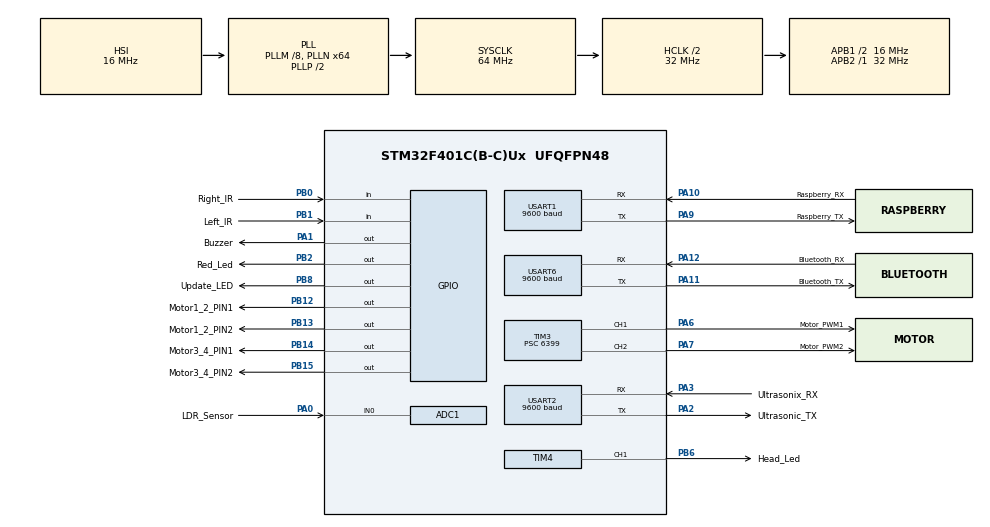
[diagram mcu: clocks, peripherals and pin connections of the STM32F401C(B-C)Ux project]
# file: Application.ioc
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ADC1.Channel-0\#ChannelRegularConversion=ADC_CHANNEL_0
ADC1.NbrOfConversionFlag=1
ADC1.Rank-0\#ChannelRegularConversion=1
ADC1.SamplingTime-0\#ChannelRegularConversion=ADC_SAMPLETIME_3CYCLES
ADC1.master=1
FREERTOS.Tasks01=TASK_1,9,128,ACC_TASK,Default,NULL,Dynamic,NULL,NULL;TASK_2,32,128,AEB_TASK,Default,NULL,Dynamic,NULL,NULL;TASK_3,16,128,LKS_Task,Default,NULL,Dynamic,NULL,NULL;TASK_4,8,128,ALC_TASK,Default,NULL,Dynamic,NULL,NULL;TASK_5,8,128,Bluetooth_Task,Default,NULL,Dynamic,NULL,NULL;TASK_6,8,128,FOTA_Task,Default,NULL,Dynamic,NULL,NULL
Mcu.Family=STM32F4
Mcu.Name=STM32F401C(B-C)Ux
Mcu.Package=UFQFPN48
NVIC.PriorityGroup=NVIC_PRIORITYGROUP_4
NVIC.TIM2_IRQn=true\:15\:0\:false\:false\:true\:false\:false\:true\:true
NVIC.TimeBase=TIM2_IRQn
NVIC.TimeBaseIP=TIM2
PA0-WKUP.GPIO_Label=LDR_Sensor
PA0-WKUP.Signal=ADCx_IN0
PA1.GPIO_Label=Buzzer
PA1.GPIO_Speed=GPIO_SPEED_FREQ_MEDIUM
PA1.Signal=GPIO_Output
PA10.GPIO_Label=Raspberry_RX
PA10.Mode=Asynchronous
PA10.Signal=USART1_RX
PA11.GPIO_Label=Bluetooth_TX
PA11.Mode=Asynchronous
PA11.Signal=USART6_TX
PA12.GPIO_Label=Bluetooth_RX
PA12.Mode=Asynchronous
PA12.Signal=USART6_RX
PA2.GPIO_Label=Ultrasonic_TX
PA2.Mode=Asynchronous
PA2.Signal=USART2_TX
PA3.GPIO_Label=Ultrasonix_RX
PA3.Mode=Asynchronous
PA3.Signal=USART2_RX
PA6.GPIO_Label=Motor_PWM1
PA6.Signal=S_TIM3_CH1
PA7.GPIO_Label=Motor_PWM2
PA7.Signal=S_TIM3_CH2
PA9.GPIO_Label=Raspberry_TX
PA9.Mode=Asynchronous
PA9.Signal=USART1_TX
PB0.GPIO_Label=Right_IR
PB0.Signal=GPIO_Input
PB1.GPIO_Label=Left_IR
PB1.Signal=GPIO_Input
PB12.GPIO_Label=Motor1_2_PIN1
PB12.GPIO_Speed=GPIO_SPEED_FREQ_MEDIUM
PB12.Signal=GPIO_Output
PB13.GPIO_Label=Motor1_2_PIN2
PB13.GPIO_Speed=GPIO_SPEED_FREQ_MEDIUM
PB13.Signal=GPIO_Output
PB14.GPIO_Label=Motor3_4_PIN1
PB14.GPIO_Speed=GPIO_SPEED_FREQ_MEDIUM
PB14.Signal=GPIO_Output
PB15.GPIO_Label=Motor3_4_PIN2
PB15.GPIO_Speed=GPIO_SPEED_FREQ_MEDIUM
PB15.Signal=GPIO_Output
PB2.GPIO_Label=Red_Led
PB2.GPIO_Speed=GPIO_SPEED_FREQ_MEDIUM
PB2.Signal=GPIO_Output
PB6.GPIO_Label=Head_Led
PB6.Signal=S_TIM4_CH1
PB8.GPIO_Label=Update_LED
PB8.GPIO_PuPd=GPIO_PULLDOWN
PB8.GPIO_Speed=GPIO_SPEED_FREQ_MEDIUM
PB8.Signal=GPIO_Output
ProjectManager.HeapSize=0x200
ProjectManager.StackSize=0x400
ProjectManager.TargetToolchain=STM32CubeIDE
RCC.48MHZClocksFreq_Value=32000000
RCC.AHBCLKDivider=RCC_SYSCLK_DIV2
RCC.AHBFreq_Value=32000000
RCC.APB1CLKDivider=RCC_HCLK_DIV2
RCC.APB1Freq_Value=16000000
RCC.APB1TimFreq_Value=32000000
RCC.APB2Freq_Value=32000000
RCC.APB2TimFreq_Value=32000000
RCC.CortexFreq_Value=32000000
RCC.HCLKFreq_Value=32000000
RCC.HSE_VALUE=25000000
RCC.HSI_VALUE=16000000
RCC.LSE_VALUE=32768
RCC.PLLM=8
RCC.PLLN=64
RCC.SYSCLKFreq_VALUE=64000000
RCC.SYSCLKSource=RCC_SYSCLKSOURCE_PLLCLK
RCC.VCOOutputFreq_Value=128000000
SH.ADCx_IN0.0=ADC1_IN0,IN0
SH.S_TIM3_CH1.0=TIM3_CH1,PWM Generation1 CH1
SH.S_TIM3_CH2.0=TIM3_CH2,PWM Generation2 CH2
SH.S_TIM4_CH1.0=TIM4_CH1,PWM Generation1 CH1
TIM1.Period=99
TIM1.Prescaler=6399
TIM3.Channel-PWM\ Generation1\ CH1=TIM_CHANNEL_1
TIM3.Channel-PWM\ Generation2\ CH2=TIM_CHANNEL_2
TIM3.OCPolarity_1=TIM_OCPOLARITY_LOW
TIM3.OCPolarity_2=TIM_OCPOLARITY_LOW
TIM3.Period=99
TIM3.Prescaler=6399
TIM4.Channel-PWM\ Generation1\ CH1=TIM_CHANNEL_1
TIM4.OCPolarity_1=TIM_OCPOLARITY_LOW
TIM4.Period=99
TIM4.Prescaler=6399
USART1.BaudRate=9600
USART1.VirtualMode=VM_ASYNC
USART2.BaudRate=9600
USART2.VirtualMode=VM_ASYNC
USART6.BaudRate=9600
USART6.VirtualMode=VM_ASYNC
VP_FREERTOS_VS_CMSIS_V2.Mode=CMSIS_V2
VP_SYS_VS_tim2.Mode=TIM2
VP_TIM1_VS_ClockSourceINT.Mode=Internal
VP_TIM3_VS_ClockSourceINT.Mode=Internal
VP_TIM4_VS_ClockSourceINT.Mode=Internal
board=custom

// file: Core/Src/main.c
/* USER CODE BEGIN Header */
/**
  ******************************************************************************
  * @file           : main.c
  * @brief          : Main program body
  ******************************************************************************
  * @attention
  *
  * Copyright (c) 2024 STMicroelectronics.
  * All rights reserved.
  *
  * This software is licensed under terms that can be found in the LICENSE file
  * in the root directory of this software component.
  * If no LICENSE file comes with this software, it is provided AS-IS.
  *
  ******************************************************************************
  */
/* USER CODE END Header */
#include "main.h"
#include "cmsis_os.h"
#include "adc.h"
#include "tim.h"
#include "usart.h"
#include "gpio.h"

/* USER CODE BEGIN Includes */
#include "Motor.h"
/* USER CODE END Includes */

void SystemClock_Config(void);
void MX_FREERTOS_Init(void);

int main(void)
{

  /* MCU Configuration--------------------------------------------------------*/

  /* Reset of all peripherals, Initializes the Flash interface and the Systick. */
  HAL_Init();

  /* Configure the system clock */
  SystemClock_Config();

  /* Initialize all configured peripherals */
  MX_GPIO_Init();		/* Gpio Pins Initialize */
  MX_TIM3_Init();		/* Timer3 Pins Initialize */
  MX_TIM4_Init();		/* Timer4 Pins Initialize */
  MX_USART2_UART_Init();/* UART2 Pins Initialize */
  MX_TIM1_Init();		/* Timer1 Pins Initialize */
  MX_ADC1_Init();		/* ADC1 Pins Initialize */
  MX_USART1_UART_Init();/* UART1 Pins Initialize */
  MX_USART6_UART_Init();/* UART6 Pins Initialize */
  /* USER CODE BEGIN 2 */
  MotorDriver_voidInit();	// initialize motors

  /* Start PWM signal on timer 4 */
  HAL_TIM_PWM_Start(&htim4, TIM_CHANNEL_1);
  HAL_ADC_MspInit(&hadc1);	//ADC Configurations
  /* USER CODE END 2 */

  /* Init scheduler */
  osKernelInitialize();

  /* Call init function for freertos objects (in freertos.c) */
  MX_FREERTOS_Init();

  /* Start scheduler */
  osKernelStart();

  /* We should never get here as control is now taken by the scheduler */
  /* Infinite loop */
  while (1)
  {

  }
}

void SystemClock_Config(void)
{
  RCC_OscInitTypeDef RCC_OscInitStruct = {0};
  RCC_ClkInitTypeDef RCC_ClkInitStruct = {0};

  /** Configure the main internal regulator output voltage
  */
  __HAL_RCC_PWR_CLK_ENABLE();
  __HAL_PWR_VOLTAGESCALING_CONFIG(PWR_REGULATOR_VOLTAGE_SCALE2);

  /** Initializes the RCC Oscillators according to the specified parameters
  * in the RCC_OscInitTypeDef structure.
  */
  RCC_OscInitStruct.OscillatorType = RCC_OSCILLATORTYPE_HSI;
  RCC_OscInitStruct.HSIState = RCC_HSI_ON;
  RCC_OscInitStruct.HSICalibrationValue = RCC_HSICALIBRATION_DEFAULT;
  RCC_OscInitStruct.PLL.PLLState = RCC_PLL_ON;
  RCC_OscInitStruct.PLL.PLLSource = RCC_PLLSOURCE_HSI;
  RCC_OscInitStruct.PLL.PLLM = 8;
  RCC_OscInitStruct.PLL.PLLN = 64;
  RCC_OscInitStruct.PLL.PLLP = RCC_PLLP_DIV2;
  RCC_OscInitStruct.PLL.PLLQ = 4;
  if (HAL_RCC_OscConfig(&RCC_OscInitStruct) != HAL_OK)
  {
    Error_Handler();
  }

  /** Initializes the CPU, AHB and APB buses clocks
  */
  RCC_ClkInitStruct.ClockType = RCC_CLOCKTYPE_HCLK|RCC_CLOCKTYPE_SYSCLK
                              |RCC_CLOCKTYPE_PCLK1|RCC_CLOCKTYPE_PCLK2;
  RCC_ClkInitStruct.SYSCLKSource = RCC_SYSCLKSOURCE_PLLCLK;
  RCC_ClkInitStruct.AHBCLKDivider = RCC_SYSCLK_DIV2;
  RCC_ClkInitStruct.APB1CLKDivider = RCC_HCLK_DIV2;
  RCC_ClkInitStruct.APB2CLKDivider = RCC_HCLK_DIV1;

  if (HAL_RCC_ClockConfig(&RCC_ClkInitStruct, FLASH_LATENCY_1) != HAL_OK)
  {
    Error_Handler();
  }
}

void HAL_TIM_PeriodElapsedCallback(TIM_HandleTypeDef *htim)
{
  if (htim->Instance == TIM2) {
    HAL_IncTick();
  }
}

void Error_Handler(void)
{
  __disable_irq();
  while (1)
  {
  }
}

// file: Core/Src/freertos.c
/* USER CODE BEGIN Header */
/**
 ******************************************************************************
 * File Name          : freertos.c
 * Description        : Code for freertos applications
 ******************************************************************************
 * @attention
 *
 * Copyright (c) 2024 STMicroelectronics.
 * All rights reserved.
 *
 * This software is licensed under terms that can be found in the LICENSE file
 * in the root directory of this software component.
 * If no LICENSE file comes with this software, it is provided AS-IS.
 *
 ******************************************************************************
 */
/* USER CODE END Header */

#include "FreeRTOS.h"
#include "task.h"
#include "main.h"
#include "cmsis_os.h"

/* USER CODE BEGIN Includes */
#include "Ultrasonic.h"
#include "Motor.h"
#include "LDR.h"
#include "tim.h"
#include "usart.h"
/* USER CODE END Includes */

/* USER CODE BEGIN PD */
#define MIN_DISTANCE		10
#define DEFAULT_DISTANCE    50
#define MAX_SPEED  			98

#define WHITE   0
#define BLACK   1
/* USER CODE END PD */

/* USER CODE BEGIN Variables */
uint16_t Current_Distance = 0;
uint8_t Bluetooth_Value = 0;

uint8_t ACC_Flag = 0;
uint8_t Bootloader_Flag = 0;
uint8_t AEB_Flag = 0;
uint8_t LKS_Flag = 0;
uint8_t Left_IR = 0;
uint8_t Right_IR = 0;

/* USER CODE END Variables */
/* Definitions for TASK_1 */
osThreadId_t TASK_1Handle;
const osThreadAttr_t TASK_1_attributes = {
		.name = "TASK_1",
		.stack_size = 128 * 4,
		.priority = (osPriority_t) osPriorityLow1,
};
/* Definitions for TASK_2 */
osThreadId_t TASK_2Handle;
const osThreadAttr_t TASK_2_attributes = {
		.name = "TASK_2",
		.stack_size = 128 * 4,
		.priority = (osPriority_t) osPriorityAboveNormal,
};
/* Definitions for TASK_3 */
osThreadId_t TASK_3Handle;
const osThreadAttr_t TASK_3_attributes = {
		.name = "TASK_3",
		.stack_size = 128 * 4,
		.priority = (osPriority_t) osPriorityBelowNormal,
};
/* Definitions for TASK_4 */
osThreadId_t TASK_4Handle;
const osThreadAttr_t TASK_4_attributes = {
		.name = "TASK_4",
		.stack_size = 128 * 4,
		.priority = (osPriority_t) osPriorityLow,
};
/* Definitions for TASK_5 */
osThreadId_t TASK_5Handle;
const osThreadAttr_t TASK_5_attributes = {
		.name = "TASK_5",
		.stack_size = 128 * 4,
		.priority = (osPriority_t) osPriorityLow,
};
/* Definitions for TASK_6 */
osThreadId_t TASK_6Handle;
const osThreadAttr_t TASK_6_attributes = {
		.name = "TASK_6",
		.stack_size = 128 * 4,
		.priority = (osPriority_t) osPriorityLow,
};

void ACC_TASK(void *argument);
void AEB_TASK(void *argument);
void LKS_Task(void *argument);
void ALC_TASK(void *argument);
void Bluetooth_Task(void *argument);
void FOTA_Task(void *argument);

void MX_FREERTOS_Init(void); /* (MISRA C 2004 rule 8.1) */

void MX_FREERTOS_Init(void) {

	/* Create the thread(s) */
	/* creation of TASK_1 */
	TASK_1Handle = osThreadNew(ACC_TASK, NULL, &TASK_1_attributes);

	/* creation of TASK_2 */
	TASK_2Handle = osThreadNew(AEB_TASK, NULL, &TASK_2_attributes);

	/* creation of TASK_3 */
	TASK_3Handle = osThreadNew(LKS_Task, NULL, &TASK_3_attributes);

	/* creation of TASK_4 */
	TASK_4Handle = osThreadNew(ALC_TASK, NULL, &TASK_4_attributes);

	/* creation of TASK_5 */
	TASK_5Handle = osThreadNew(Bluetooth_Task, NULL, &TASK_5_attributes);

	/* creation of TASK_6 */
	TASK_6Handle = osThreadNew(FOTA_Task, NULL, &TASK_6_attributes);

}

/* USER CODE BEGIN Header_ACC_TASK (Adaptive Cruise Control) */
/* USER CODE END Header_ACC_TASK */
void ACC_TASK(void *argument)
{
	/* USER CODE BEGIN ACC_TASK */
	static uint8_t speed = 0;

	/* Infinite loop */
	for(;;)
	{
		if((!AEB_Flag) && (!LKS_Flag) && (ACC_Flag))
		{

			//Current_Distance = Ultrasonic_u16GetDistance();
			/* Reset speed for safty*/
			speed = 0 ;
			/* Set motor direction */
			MotorDriver_voidMoveForward();

			if ((Current_Distance < DEFAULT_DISTANCE) && (Current_Distance > MIN_DISTANCE))
			{
				/* Calculate Adaptive Speed */
				speed = MAX_SPEED - 2*(DEFAULT_DISTANCE - Current_Distance) ;
			}
			else if (Current_Distance >= DEFAULT_DISTANCE)
			{
				speed = MAX_SPEED ;
			}
			else{/* nothing */}
			/* Update speed based on Ultrasonic reading */
			MotorDriver_voidControlSpeed(speed);

		}
		else{/* Nothing */}

		osDelay(1);
	}
	/* USER CODE END ACC_TASK */
}

/* USER CODE BEGIN Header_AEB_TASK (Automatic Emergency Braking) */
/* USER CODE END Header_AEB_TASK */
void AEB_TASK(void *argument)
{
	/* USER CODE BEGIN AEB_TASK */
	/* Infinite loop */
	for(;;)
	{
		/* Measure distance */
		Current_Distance = Ultrasonic_u16GetDistance();
		/* Read Left IR Value (BLACK/WHITE) */
		Left_IR = HAL_GPIO_ReadPin(GPIOB, GPIO_PIN_1);
		/* Read Right IR Value (BLACK/WHITE) */
		Right_IR = HAL_GPIO_ReadPin(GPIOB, GPIO_PIN_0);

		if ((Current_Distance <= MIN_DISTANCE)||(Left_IR == WHITE && Right_IR == WHITE))
		{
			/* very low distance < 10 --> car stop */
			MotorDriver_voidStop();
			/* Set (Automatic Emergency Braking) Flag */
			AEB_Flag = 1;
			/* Stop the car */
			MotorDriver_voidControlSpeed(0);
			/* Turn On Back Leds  */
			HAL_GPIO_WritePin(GPIOB, GPIO_PIN_2, GPIO_PIN_SET);
			/* Turn On Buzzer */
			HAL_GPIO_WritePin(GPIOA, GPIO_PIN_1, GPIO_PIN_SET);
			/* Wait Task for 3 Sec*/
			vTaskDelay(3000);
			/* Turn On Buzzer  */
			HAL_GPIO_WritePin(GPIOA, GPIO_PIN_1, GPIO_PIN_RESET);
			/* Turn On Back Leds  */
			HAL_GPIO_WritePin(GPIOB, GPIO_PIN_2, GPIO_PIN_RESET);
		}
		else
		{
			AEB_Flag = 0;
		}

		osDelay(1);
	}
	/* USER CODE END AEB_TASK */
}

/* USER CODE BEGIN Header_LKS_Task (Lane Keeping Status ) */
/* USER CODE END Header_LKS_Task */
void LKS_Task(void *argument)
{
	/* USER CODE BEGIN LKS_Task */

	/* Infinite loop */
	for(;;)
	{
		if(!AEB_Flag)
		{
			/* If the car is inside the lane / No lane markings are detected on both sides */
			if ((Left_IR == BLACK) && (Right_IR == BLACK) && (ACC_Flag))
			{

				/* Move the car forward  */
				MotorDriver_voidMoveForward();
				/* Reset (Lane Keeping Status) Flag */
				LKS_Flag = 0;
			}
			/* If the car drifts to the right / Lane markings are detected on the right side */
			else if (Left_IR == BLACK && Right_IR == WHITE)
			{
				/* Set (Lane Keeping Status) Flag */
				LKS_Flag = 1;
				// Steer the car to the left
				MotorDriver_voidMoveLeft();
			}
			/* If the car drifts to the left / Lane markings are detected on the left side */
			else if (Left_IR == WHITE && Right_IR == BLACK)
			{
				/* Set (Lane Keeping Status) Flag */
				LKS_Flag = 1;
				// Steer the car to the right
				MotorDriver_voidMoveRight();
			}
			else
			{/* Nothing */}

		}
		else {/* Nothing */}
		osDelay(1);
	}
	/* USER CODE END LKS_Task */
}

/* USER CODE BEGIN Header_ALC_TASK ( Adaptive Light Control )*/
/* USER CODE END Header_ALC_TASK */
void ALC_TASK(void *argument)
{
	/* USER CODE BEGIN ALC_TASK */
	uint8_t LDR_Value = 0;

	/* Infinite loop */
	for(;;)
	{

		/* Read LDR Value */
		LDR_Value = LDR_u8GetValue();
		if(LDR_Value >= 93)
		{
			/* Head Lead with Max lighting */
			htim4.Instance->CCR1 = 98 ;
		}
		else if(LDR_Value < 93 || LDR_Value >= 80)
		{
			/* Head Led with adaptive lighting*/
			htim4.Instance->CCR1 =  (LDR_Value )  ;
		}
		else if(LDR_Value < 80 || LDR_Value > 10)
		{
			/* Head Led with Low lighting */
			htim4.Instance->CCR1 =  (LDR_Value ) / 2 ;
		}
		else
		{
			/* Head Led Off*/
			htim4.Instance->CCR1 =  0 ;
		}
		/* Task will come in every 1 msec */
		osDelay(1);
	}
	/* USER CODE END ALC_TASK */
}

void Bluetooth_Task(void *argument)
{
	/* USER CODE BEGIN Bluetooth_Task */
	uint8_t Speed = 0 ;
	/* Infinite loop */
	for(;;)
	{
		if(!AEB_Flag && !LKS_Flag)
		{
			if(Current_Distance < 100)
			{
				Speed = (uint8_t)Current_Distance;
			}
			else
			{
				Speed = 90 ;
			}
			HAL_StatusTypeDef Status = HAL_ERROR;
			/* Receive from Bluetooth*/
			Status = HAL_UART_Receive(&huart6, &Bluetooth_Value, sizeof(uint8_t), 50);
			if(HAL_OK == Status)
			{
				if(!ACC_Flag)
				{
					switch(Bluetooth_Value)
					{
					case 'J' :	/* Bluetooth send 'J' */
						ACC_Flag = 1;
						Bootloader_Flag = 0;
						break;
					case 'F' :	/* Bluetooth send 'F' */
						MotorDriver_voidMoveForward();
						MotorDriver_voidControlSpeed(Speed);
						Bootloader_Flag = 0;
						break;
					case 'L' :	/* Bluetooth send 'L' */
						MotorDriver_voidMoveLeft();
						MotorDriver_voidControlSpeed(Speed);
						Bootloader_Flag = 0;
						break;
					case 'R' :	/* Bluetooth send 'R' */
						MotorDriver_voidMoveRight();
						MotorDriver_voidControlSpeed(Speed);
						Bootloader_Flag = 0;
						break;
					case 'S' :	/* Bluetooth send 'S' */
						MotorDriver_voidStop();
						Bootloader_Flag = 0;
						break;
					case 'B' :	/* Bluetooth send 'B' */
						Bootloader_Flag = 1;
						break;
					default :
						Status = HAL_ERROR;
						break;
					}
				}
				else
				{
					/* Bluetooth send 'H' */
					if(Bluetooth_Value == 'H')
					{
						ACC_Flag = 0;
						Bootloader_Flag = 0;
					}
					else
					{/* Nothing */}

				}
			}
		}
		/* Task will come in every 1 msec */
		osDelay(1);
	}
	/* USER CODE END Bluetooth_Task */
}

void FOTA_Task(void *argument)
{
	/* USER CODE BEGIN FOTA_Task */
	uint8_t Fota_Value = 0;
	uint8_t RaspberrySendValue = 7;
	/* Infinite loop */
	for(;;)
	{
		/* Receive from Raspberry PI*/
		HAL_UART_Receive(&huart1, &Fota_Value, sizeof(uint8_t), 100);
		//if((Fota_Value == 55) || (Fota_Value == '55') || (Fota_Value == 0x55) || (Fota_Value == '0x55') || (Fota_Value == '7') || (Fota_Value == 7))
		if((Fota_Value == '7') || (Fota_Value == 55))
		{
			/* Set the update led */
			HAL_GPIO_WritePin(GPIOB, GPIO_PIN_8, GPIO_PIN_SET);
			if(1 == Bootloader_Flag)
			{
				/* Send By Bluetooth (7) to raspberry pi */
				HAL_UART_Transmit(&huart1, &RaspberrySendValue, sizeof(uint8_t), 100);
				/* Software Reset to starting the update */
				HAL_NVIC_SystemReset();
			}
			else{/*Nothing*/}
		}
		osDelay(1);
	}
	/* USER CODE END FOTA_Task */
}
